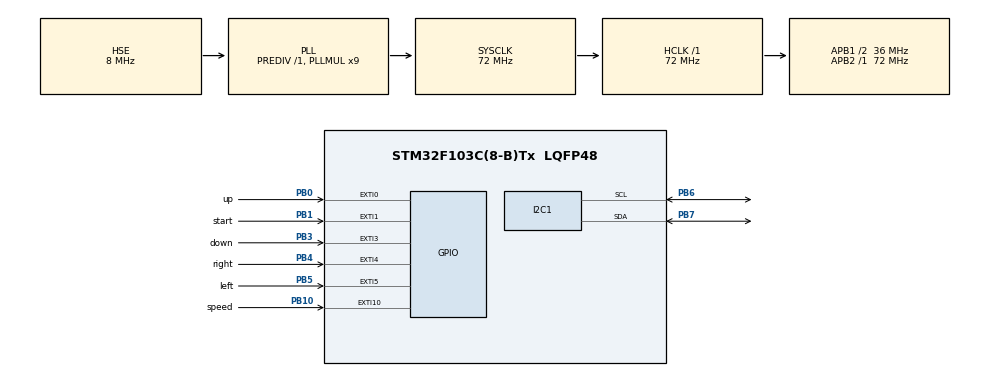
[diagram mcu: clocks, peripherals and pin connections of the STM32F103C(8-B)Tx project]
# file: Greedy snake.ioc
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I2C1.I2C_Mode=I2C_Fast
Mcu.Family=STM32F1
Mcu.Name=STM32F103C(8-B)Tx
Mcu.Package=LQFP48
NVIC.EXTI0_IRQn=true\:15\:0\:true\:false\:true\:true\:true\:true
NVIC.EXTI15_10_IRQn=true\:15\:0\:true\:false\:true\:true\:true\:true
NVIC.EXTI1_IRQn=true\:15\:0\:true\:false\:true\:true\:true\:true
NVIC.EXTI3_IRQn=true\:15\:0\:true\:false\:true\:true\:true\:true
NVIC.EXTI4_IRQn=true\:15\:0\:true\:false\:true\:true\:true\:true
NVIC.EXTI9_5_IRQn=true\:15\:0\:true\:false\:true\:true\:true\:true
NVIC.PriorityGroup=NVIC_PRIORITYGROUP_4
PA13.Mode=Serial_Wire
PA13.Signal=SYS_JTMS-SWDIO
PA14.Mode=Serial_Wire
PA14.Signal=SYS_JTCK-SWCLK
PB0.GPIO_Label=up
PB0.GPIO_ModeDefaultEXTI=GPIO_MODE_IT_FALLING
PB0.GPIO_PuPd=GPIO_PULLUP
PB0.Signal=GPXTI0
PB1.GPIO_Label=start
PB1.GPIO_ModeDefaultEXTI=GPIO_MODE_IT_FALLING
PB1.GPIO_PuPd=GPIO_PULLUP
PB1.Signal=GPXTI1
PB10.GPIO_Label=speed
PB10.GPIO_ModeDefaultEXTI=GPIO_MODE_IT_FALLING
PB10.GPIO_PuPd=GPIO_PULLUP
PB10.Signal=GPXTI10
PB3.GPIO_Label=down
PB3.GPIO_ModeDefaultEXTI=GPIO_MODE_IT_FALLING
PB3.GPIO_PuPd=GPIO_PULLUP
PB3.Signal=GPXTI3
PB4.GPIO_Label=right
PB4.GPIO_ModeDefaultEXTI=GPIO_MODE_IT_FALLING
PB4.GPIO_PuPd=GPIO_PULLUP
PB4.Signal=GPXTI4
PB5.GPIO_Label=left
PB5.GPIO_ModeDefaultEXTI=GPIO_MODE_IT_FALLING
PB5.GPIO_PuPd=GPIO_PULLUP
PB5.Signal=GPXTI5
PB6.Mode=I2C
PB6.Signal=I2C1_SCL
PB7.Mode=I2C
PB7.Signal=I2C1_SDA
PD0-OSC_IN.Mode=HSE-External-Oscillator
PD0-OSC_IN.Signal=RCC_OSC_IN
PD1-OSC_OUT.Mode=HSE-External-Oscillator
PD1-OSC_OUT.Signal=RCC_OSC_OUT
ProjectManager.HeapSize=0x200
ProjectManager.StackSize=0x400
ProjectManager.TargetToolchain=MDK-ARM V5.32
RCC.AHBFreq_Value=72000000
RCC.APB1CLKDivider=RCC_HCLK_DIV2
RCC.APB1Freq_Value=36000000
RCC.APB1TimFreq_Value=72000000
RCC.APB2Freq_Value=72000000
RCC.APB2TimFreq_Value=72000000
RCC.HCLKFreq_Value=72000000
RCC.PLLMUL=RCC_PLL_MUL9
RCC.PLLSourceVirtual=RCC_PLLSOURCE_HSE
RCC.SYSCLKFreq_VALUE=72000000
RCC.SYSCLKSource=RCC_SYSCLKSOURCE_PLLCLK
RCC.USBFreq_Value=72000000
board=custom

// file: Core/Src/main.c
/* USER CODE BEGIN Header */
/**
  ******************************************************************************
  * @file           : main.c
  * @brief          : Main program body
  ******************************************************************************
  * @attention
  *
  * Copyright (c) 2024 STMicroelectronics.
  * All rights reserved.
  *
  * This software is licensed under terms that can be found in the LICENSE file
  * in the root directory of this software component.
  * If no LICENSE file comes with this software, it is provided AS-IS.
  *
  ******************************************************************************
  */
/* USER CODE END Header */
#include "main.h"
#include "i2c.h"
#include "gpio.h"

/* USER CODE BEGIN Includes */
#include "oled.h"
#include <stdlib.h>
#include "stdio.h"
#include "time.h"
/* USER CODE END Includes */

void SystemClock_Config(void);

/* USER CODE BEGIN 0 */

uint8_t right=1,left=0,up=0,down=0,start=0;
uint16_t speed=200;

/* USER CODE END 0 */

int main(void)
{

  /* MCU Configuration--------------------------------------------------------*/

  /* Reset of all peripherals, Initializes the Flash interface and the Systick. */
  HAL_Init();

  /* Configure the system clock */
  SystemClock_Config();

  /* Initialize all configured peripherals */
  MX_GPIO_Init();
  MX_I2C1_Init();
  /* USER CODE BEGIN 2 */
  HAL_Delay(20);
  OLED_Init();
  uint16_t i=0;
  uint16_t score=0;
  uint16_t death=0;
  char message[50];
  char SCORE[5];
  uint16_t x_location[50]={0};
  uint16_t y_location[50]={0};
  uint8_t bodylength=4 ,body_length=4 ;

  uint8_t food_x=0;
  uint8_t food_y=0;
  uint8_t first_x=5;
  uint8_t first_y=13;
  uint8_t last_x=5;
  uint8_t last_y=22;

  x_location[0]=5;
  y_location[0]=13;
  x_location[1]=5;
  y_location[1]=16;
  x_location[2]=5;
  y_location[2]=19;
  x_location[3]=5;
  y_location[3]=22;

  food_x=(rand()%40)*3+5;
  food_y=(rand()%16)*3+13;
  while(1)
  {
    OLED_NewFrame();
    OLED_DrawImage(0,0,&OLED_GameBeginImg,OLED_COLOR_NORMAL);
    OLED_PrintASCIIString(52, 0, "Greedy", &afont24x12 , OLED_COLOR_NORMAL );
    OLED_PrintASCIIString(64, 32, "snake", &afont24x12 , OLED_COLOR_NORMAL );
    if(start==1)
    {
      break;
    }
    OLED_ShowFrame();

  }

  /* USER CODE END 2 */

  /* Infinite loop */
  /* USER CODE BEGIN WHILE */
  while (1)
  {
    OLED_NewFrame();

    for(i=0;i<bodylength;i++)
    {
      OLED_snake_body(x_location[i] ,y_location[i] ,OLED_COLOR_NORMAL);
    }
    sprintf(message,"SCORE : %d",score);
    OLED_PrintASCIIString(6, 0, message, &afont8x6 , OLED_COLOR_NORMAL );
    OLED_DrawRectangle(1, 9, 125, 53, OLED_COLOR_NORMAL);
    OLED_DrawRectangle(2, 10, 123, 51, OLED_COLOR_NORMAL);
    OLED_DrawRectangle(3, 11, 121, 49, OLED_COLOR_NORMAL);

    if(right==1&&start==1)
    {
      HAL_Delay(3);
      if(right==1&&start==1)
      {
        OLED_snake_food( food_x , food_y ,OLED_COLOR_NORMAL);

        if((first_x>=food_x)&&(first_x<=food_x+1)&&(first_y>=food_y)&&(first_y<=food_y+1))
					{
						OLED_snake_food(food_x,food_y,OLED_COLOR_REVERSED);//上一次的清白
						food_x=(rand()%40)*3+5;
            food_y=(rand()%16)*3+13;
						while((first_x>=food_x)&&(first_x<=food_x+1)&&(first_y>=food_y)&&(first_y<=food_y+1))
						{
							food_x=(rand()%40)*3+5;
              food_y=(rand()%16)*3+13;
						}
						OLED_snake_food(food_x,food_y,OLED_COLOR_NORMAL);//食物
						body_length++;
            score++;
					}

        first_x+=3;
					if(first_x==125)
          {
						first_x=5;
          }
					last_x=x_location[bodylength-1];
					last_y=y_location[bodylength-1];
					for(i=0;i<bodylength;i++)
					{
						if(i==bodylength-1)
						{
							x_location[0]=first_x;
							y_location[0]=first_y;
						}
						else
						{
							x_location[bodylength-1-i]=x_location[bodylength-1-i-1];
							y_location[bodylength-1-i]=y_location[bodylength-1-i-1];
						}
					}

          HAL_Delay(speed);

					for(i=0;i<bodylength;i++)
					{
						OLED_snake_body(x_location[i] ,y_location[i] ,OLED_COLOR_NORMAL);
						if(i==body_length-1)
            {
              OLED_snake_body(last_x ,last_y ,OLED_COLOR_REVERSED);
            }
					}
          if(bodylength<body_length)
          {
            bodylength++;
            x_location[bodylength-1]=last_x;
						y_location[bodylength-1]=last_y;
          }

      }
    }
    if(left==1&&start==1)
    {
      HAL_Delay(3);
      if(left==1&&start==1)
      {
        OLED_snake_food( food_x , food_y ,OLED_COLOR_NORMAL);

        if((first_x>=food_x)&&(first_x<=food_x+1)&&(first_y>=food_y)&&(first_y<=food_y+1))
					{
						OLED_snake_food(food_x,food_y,OLED_COLOR_REVERSED);//上一次的清白
						food_x=(rand()%40)*3+5;
            food_y=(rand()%16)*3+13;
						while((first_x>=food_x)&&(first_x<=food_x+1)&&(first_y>=food_y)&&(first_y<=food_y+1))
						{
							food_x=(rand()%40)*3+5;
              food_y=(rand()%16)*3+13;
						}
						OLED_snake_food(food_x,food_y,OLED_COLOR_NORMAL);//食物
						body_length++;
            score++;
					}

        first_x-=3;
					if(first_x==2)
          {
						first_x=122;
          }
					last_x=x_location[bodylength-1];
					last_y=y_location[bodylength-1];
					for(i=0;i<bodylength;i++)
					{
						if(i==bodylength-1)
						{
							x_location[0]=first_x;
							y_location[0]=first_y;
						}
						else
						{
							x_location[bodylength-1-i]=x_location[bodylength-1-i-1];
							y_location[bodylength-1-i]=y_location[bodylength-1-i-1];
						}
					}

          HAL_Delay(speed);

					for(i=0;i<bodylength;i++)
					{
						OLED_snake_body(x_location[i] ,y_location[i] ,OLED_COLOR_NORMAL);
						if(i==body_length-1)
            {
              OLED_snake_body(last_x ,last_y ,OLED_COLOR_REVERSED);
            }
					}
          if(bodylength<body_length)
          {
            bodylength++;
            x_location[bodylength-1]=last_x;
						y_location[bodylength-1]=last_y;
          }

      }
    }
    if(up==1&&start==1)
    {
      HAL_Delay(3);
      if(up==1&&start==1)
      {
        OLED_snake_food( food_x , food_y ,OLED_COLOR_NORMAL);

        if((first_x>=food_x)&&(first_x<=food_x+1)&&(first_y>=food_y)&&(first_y<=food_y+1))
					{
						OLED_snake_food(food_x,food_y,OLED_COLOR_REVERSED);//上一次的清白
						food_x=(rand()%40)*3+5;
            food_y=(rand()%16)*3+13;
						while((first_x>=food_x)&&(first_x<=food_x+1)&&(first_y>=food_y)&&(first_y<=food_y+1))
						{
							food_x=(rand()%40)*3+5;
              food_y=(rand()%16)*3+13;
						}
						OLED_snake_food(food_x,food_y,OLED_COLOR_NORMAL);//食物
						body_length++;
            score++;
					}

        first_y-=3;
					if(first_y==10)
          {
						first_y=58;
          }
					last_x=x_location[bodylength-1];
					last_y=y_location[bodylength-1];
					for(i=0;i<bodylength;i++)
					{
						if(i==bodylength-1)
						{
							x_location[0]=first_x;
							y_location[0]=first_y;
						}
						else
						{
							x_location[bodylength-1-i]=x_location[bodylength-1-i-1];
							y_location[bodylength-1-i]=y_location[bodylength-1-i-1];
						}
					}

          HAL_Delay(speed);

					for(i=0;i<bodylength;i++)
					{
						OLED_snake_body(x_location[i] ,y_location[i] ,OLED_COLOR_NORMAL);
						if(i==body_length-1)
            {
              OLED_snake_body(last_x ,last_y ,OLED_COLOR_REVERSED);
            }
					}
          if(bodylength<body_length)
          {
            bodylength++;
            x_location[bodylength-1]=last_x;
						y_location[bodylength-1]=last_y;
          }

      }
    }
    if(down==1&&start==1)
    {
      HAL_Delay(3);
      if(down==1&&start==1)
      {
        OLED_snake_food( food_x , food_y ,OLED_COLOR_NORMAL);

        if((first_x>=food_x)&&(first_x<=food_x+1)&&(first_y>=food_y)&&(first_y<=food_y+1))
					{
						OLED_snake_food(food_x,food_y,OLED_COLOR_REVERSED);//上一次的清白
						food_x=(rand()%40)*3+5;
            food_y=(rand()%16)*3+13;
						while((first_x>=food_x)&&(first_x<=food_x+1)&&(first_y>=food_y)&&(first_y<=food_y+1))
						{
							food_x=(rand()%40)*3+5;
              food_y=(rand()%16)*3+13;
						}
						OLED_snake_food(food_x,food_y,OLED_COLOR_NORMAL);//食物
						body_length++;
            score++;
					}

        first_y+=3;
					if(first_y==61)
          {
						first_y=13;
          }
					last_x=x_location[bodylength-1];
					last_y=y_location[bodylength-1];
					for(i=0;i<bodylength;i++)
					{
						if(i==bodylength-1)
						{
							x_location[0]=first_x;
							y_location[0]=first_y;
						}
						else
						{
							x_location[bodylength-1-i]=x_location[bodylength-1-i-1];
							y_location[bodylength-1-i]=y_location[bodylength-1-i-1];
						}
					}

          HAL_Delay(speed);

					for(i=0;i<bodylength;i++)
					{
						OLED_snake_body(x_location[i] ,y_location[i] ,OLED_COLOR_NORMAL);
						if(i==body_length-1)
            {
              OLED_snake_body(last_x ,last_y ,OLED_COLOR_REVERSED);
            }
					}
          if(bodylength<body_length)
          {
            bodylength++;
            x_location[bodylength-1]=last_x;
						y_location[bodylength-1]=last_y;
          }

      }
    }
    for(i=1;i<bodylength;i++)
    {
      if(first_x==x_location[i]&&first_y==y_location[i])
      {
        death++;
        break;
      }
    }
    if(death==1)
    {
      break;
    }
    OLED_ShowFrame();

    /* USER CODE END WHILE */

    /* USER CODE BEGIN 3 */
  }
  OLED_NewFrame();
  OLED_DrawImage(0,0,&OLED_GameBeginImg,OLED_COLOR_NORMAL);
  OLED_PrintASCIIString(64, 0, "SCORE", &afont24x12 , OLED_COLOR_NORMAL );
  sprintf(SCORE,"%d",score);
  OLED_PrintASCIIString(88, 32, SCORE, &afont24x12 , OLED_COLOR_NORMAL );
  OLED_ShowFrame();
  HAL_Delay(5000);
  OLED_NewFrame();
  OLED_DrawImage(0,0,&OLED_GameOverImg,OLED_COLOR_NORMAL);
  OLED_ShowFrame();
  /* USER CODE END 3 */
}

void SystemClock_Config(void)
{
  RCC_OscInitTypeDef RCC_OscInitStruct = {0};
  RCC_ClkInitTypeDef RCC_ClkInitStruct = {0};

  /** Initializes the RCC Oscillators according to the specified parameters
  * in the RCC_OscInitTypeDef structure.
  */
  RCC_OscInitStruct.OscillatorType = RCC_OSCILLATORTYPE_HSE;
  RCC_OscInitStruct.HSEState = RCC_HSE_ON;
  RCC_OscInitStruct.HSEPredivValue = RCC_HSE_PREDIV_DIV1;
  RCC_OscInitStruct.HSIState = RCC_HSI_ON;
  RCC_OscInitStruct.PLL.PLLState = RCC_PLL_ON;
  RCC_OscInitStruct.PLL.PLLSource = RCC_PLLSOURCE_HSE;
  RCC_OscInitStruct.PLL.PLLMUL = RCC_PLL_MUL9;
  if (HAL_RCC_OscConfig(&RCC_OscInitStruct) != HAL_OK)
  {
    Error_Handler();
  }

  /** Initializes the CPU, AHB and APB buses clocks
  */
  RCC_ClkInitStruct.ClockType = RCC_CLOCKTYPE_HCLK|RCC_CLOCKTYPE_SYSCLK
                              |RCC_CLOCKTYPE_PCLK1|RCC_CLOCKTYPE_PCLK2;
  RCC_ClkInitStruct.SYSCLKSource = RCC_SYSCLKSOURCE_PLLCLK;
  RCC_ClkInitStruct.AHBCLKDivider = RCC_SYSCLK_DIV1;
  RCC_ClkInitStruct.APB1CLKDivider = RCC_HCLK_DIV2;
  RCC_ClkInitStruct.APB2CLKDivider = RCC_HCLK_DIV1;

  if (HAL_RCC_ClockConfig(&RCC_ClkInitStruct, FLASH_LATENCY_2) != HAL_OK)
  {
    Error_Handler();
  }
}

void Error_Handler(void)
{
  __disable_irq();
  while (1)
  {
  }
}
